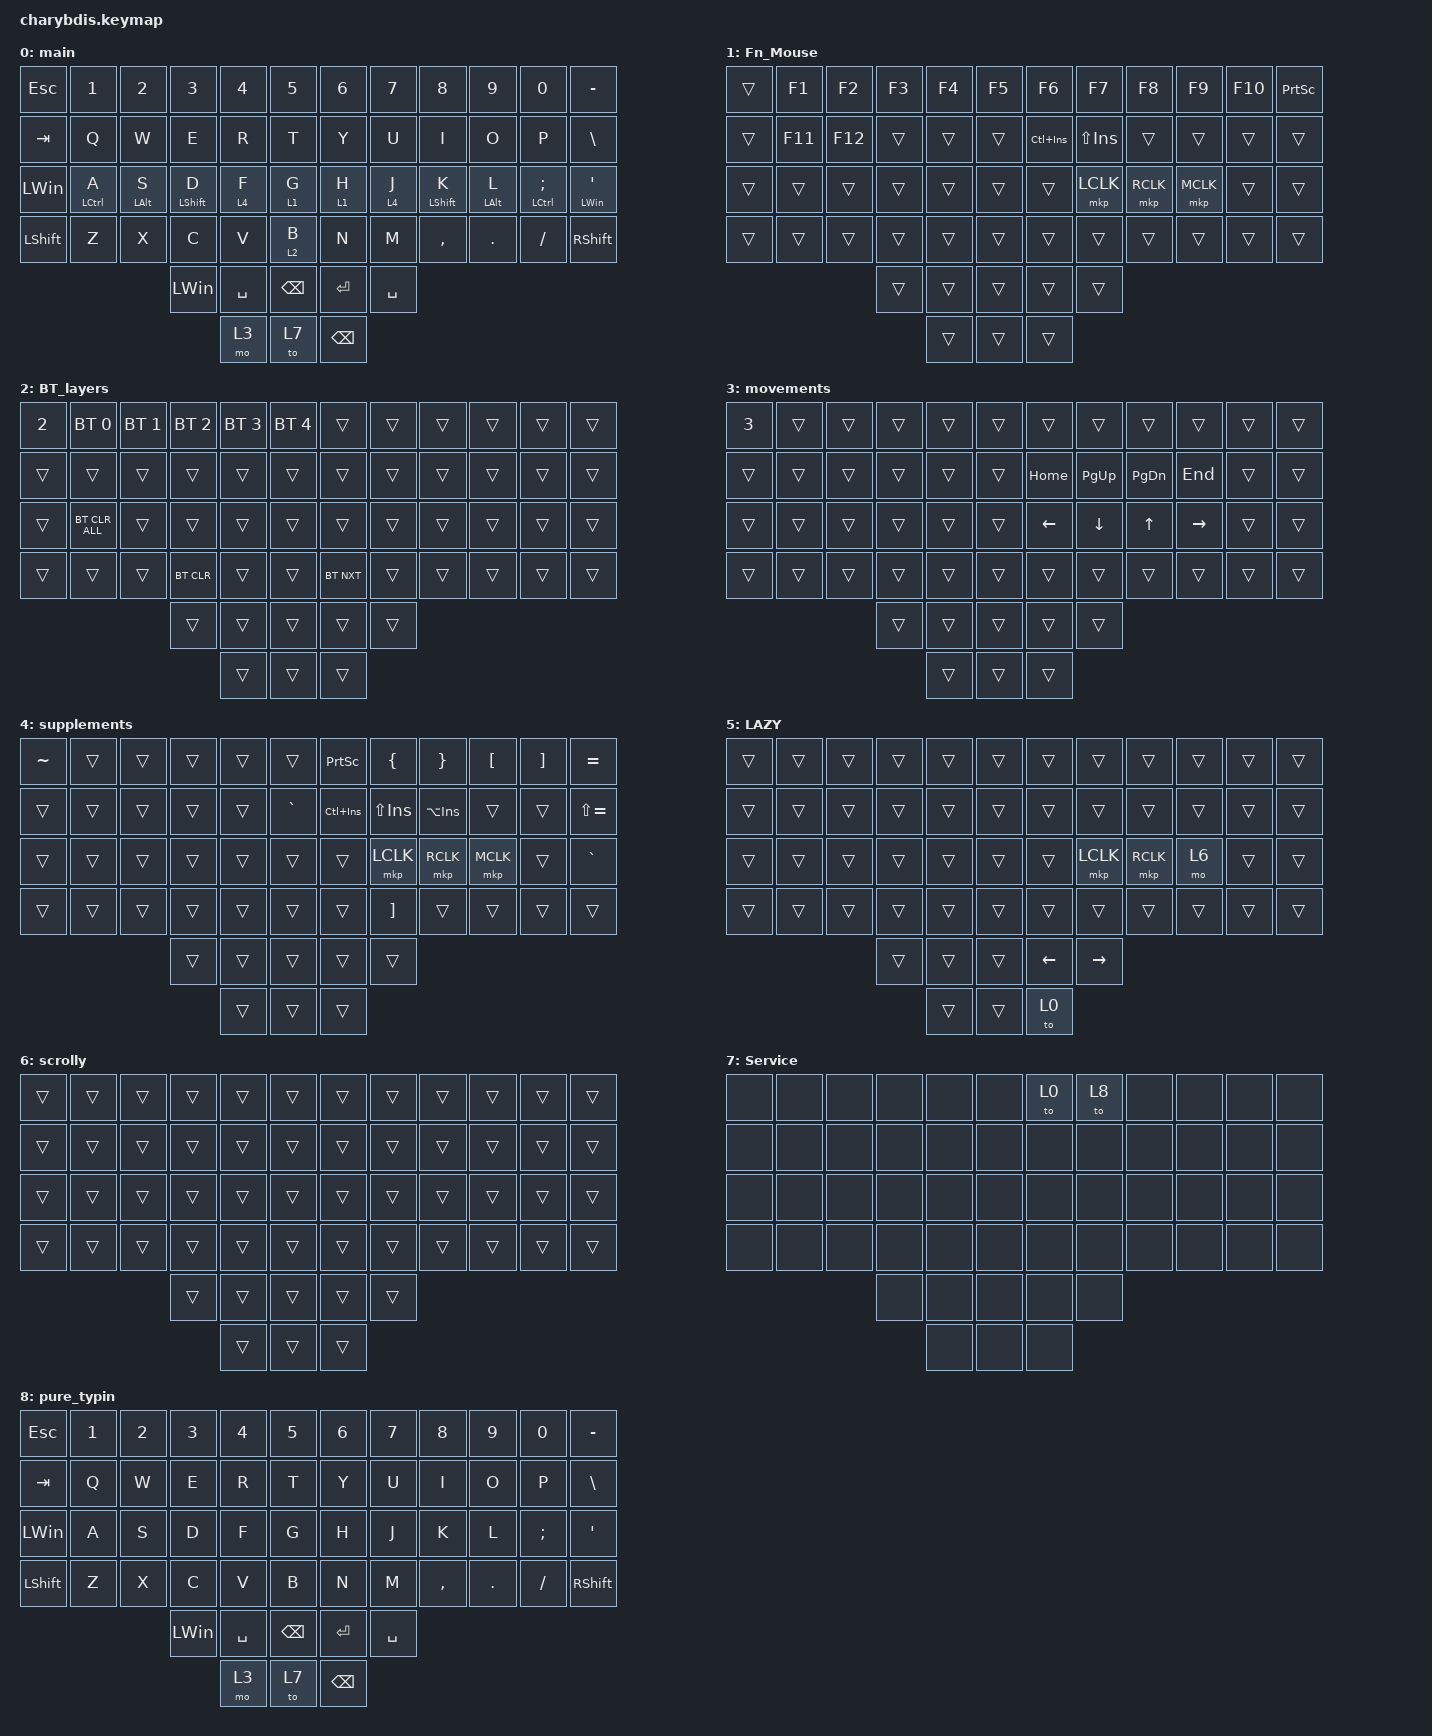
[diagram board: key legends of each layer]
#include <behaviors.dtsi>
#include <dt-bindings/zmk/bt.h>
#include <dt-bindings/zmk/keys.h>
#include <dt-bindings/zmk/pointing.h>
#include <dt-bindings/zmk/rgb.h>

&lt {
    tapping-term-ms = <200>;
    flavor = "balanced";
    quick-tap-ms = <150>;
};

&mt {
    tapping-term-ms = <200>;
    flavor = "balanced";
    quick-tap-ms = <150>;
};

/ {
    macros {
        To1_macro: To1_macro {
            compatible = "zmk,behavior-macro";
            label = "To1_macro";
            #binding-cells = <0>;
            bindings = <&rgb_ug RGB_EFF &rgb_ug RGB_COLOR_HSB(128,100,50) &to 1>;
        };

        To0_macro: To0_macro {
            compatible = "zmk,behavior-macro";
            label = "To0_macro";
            #binding-cells = <0>;
            bindings = <&rgb_ug RGB_EFR &to 0>;
        };

        To2_macro: To2_macro {
            compatible = "zmk,behavior-macro";
            label = "To2_macro";
            #binding-cells = <0>;
            bindings =
                <&to 2>,
                <&macro_wait_time 30>,
                <&rgb_ug RGB_COLOR_HSB(250,100,50)>;
        };
    };

    behaviors {
        multi_backspace: multi_backspace {
            compatible = "zmk,behavior-tap-dance";
            label = "MULTI_BACKSPACE";
            #binding-cells = <0>;
            bindings = <&kp BACKSPACE>, <&to 5>;
        };
    };

    combos {
        compatible = "zmk,combos";

        three_fingers {
            bindings = <&kp LC(LA(DELETE))>;
            key-positions = <32 33 34>;
        };
    };

    keymap {
        compatible = "zmk,keymap";

        main {
            bindings = <
&kp ESC         &kp N1              &kp N2          &kp N3            &kp N4     &kp N5           &kp N6         &kp N7     &kp N8            &kp N9          &kp N0                      &kp MINUS
&kp TAB         &kp Q               &kp W           &kp E             &kp R      &kp T            &kp Y          &kp U      &kp I             &kp O           &kp P                       &kp BSLH
&kp LEFT_WIN    &mt LEFT_CONTROL A  &mt LEFT_ALT S  &mt LEFT_SHIFT D  &lt 4 F    &lt 1 G          &lt 1 H        &lt 4 J    &mt LEFT_SHIFT K  &mt LEFT_ALT L  &mt LEFT_CONTROL SEMICOLON  &mt LEFT_WIN SQT
&kp LEFT_SHIFT  &kp Z               &kp X           &kp C             &kp V      &lt 2 B          &kp N          &kp M      &kp COMMA         &kp DOT         &kp FSLH                    &kp RIGHT_SHIFT
                                                    &kp LEFT_WIN      &kp SPACE  &kp BACKSPACE    &kp ENTER      &kp SPACE
                                                                      &mo 3      &to 7            &kp BACKSPACE
            >;
        };

        Fn_Mouse {
            bindings = <
&trans  &kp F1   &kp F2   &kp F3  &kp F4  &kp F5    &kp F6          &kp F7          &kp F8     &kp F9     &kp F10  &kp PRINTSCREEN
&trans  &kp F11  &kp F12  &trans  &trans  &trans    &kp LC(INSERT)  &kp LS(INSERT)  &trans     &trans     &trans   &trans
&trans  &trans   &trans   &trans  &trans  &trans    &trans          &mkp LCLK       &mkp RCLK  &mkp MCLK  &trans   &trans
&trans  &trans   &trans   &trans  &trans  &trans    &trans          &trans          &trans     &trans     &trans   &trans
                          &trans  &trans  &trans    &trans          &trans
                                  &trans  &trans    &trans
            >;
        };

        BT_layers {
            bindings = <
&kp NUMBER_2  &bt BT_SEL 0    &bt BT_SEL 1  &bt BT_SEL 2  &bt BT_SEL 3  &bt BT_SEL 4    &trans      &trans  &trans  &trans  &trans  &trans
&trans        &trans          &trans        &trans        &trans        &trans          &trans      &trans  &trans  &trans  &trans  &trans
&trans        &bt BT_CLR_ALL  &trans        &trans        &trans        &trans          &trans      &trans  &trans  &trans  &trans  &trans
&trans        &trans          &trans        &bt BT_CLR    &trans        &trans          &bt BT_NXT  &trans  &trans  &trans  &trans  &trans
                                            &trans        &trans        &trans          &trans      &trans
                                                          &trans        &trans          &trans
            >;
        };

        movements {
            bindings = <
&kp NUMBER_3  &trans  &trans  &trans  &trans  &trans    &trans          &trans          &trans         &trans           &trans  &trans
&trans        &trans  &trans  &trans  &trans  &trans    &kp HOME        &kp PAGE_UP     &kp PAGE_DOWN  &kp END          &trans  &trans
&trans        &trans  &trans  &trans  &trans  &trans    &kp LEFT_ARROW  &kp DOWN_ARROW  &kp UP_ARROW   &kp RIGHT_ARROW  &trans  &trans
&trans        &trans  &trans  &trans  &trans  &trans    &trans          &trans          &trans         &trans           &trans  &trans
                              &trans  &trans  &trans    &trans          &trans
                                      &trans  &trans    &trans
            >;
        };

        supplements {
            bindings = <
&kp TILDE  &trans  &trans  &trans  &trans  &trans       &kp PRINTSCREEN  &kp LEFT_BRACE     &kp RIGHT_BRACE  &kp LEFT_BRACKET  &kp RIGHT_BRACKET  &kp EQUAL
&trans     &trans  &trans  &trans  &trans  &kp GRAVE    &kp LC(INSERT)   &kp LS(INSERT)     &kp LA(INSERT)   &trans            &trans             &kp LS(EQUAL)
&trans     &trans  &trans  &trans  &trans  &trans       &trans           &mkp LCLK          &mkp RCLK        &mkp MCLK         &trans             &kp GRAVE
&trans     &trans  &trans  &trans  &trans  &trans       &trans           &kp RIGHT_BRACKET  &trans           &trans            &trans             &trans
                           &trans  &trans  &trans       &trans           &trans
                                   &trans  &trans       &trans
            >;
        };

        LAZY {
            bindings = <
&trans  &trans  &trans  &trans  &trans  &trans    &trans          &trans     &trans     &trans  &trans  &trans
&trans  &trans  &trans  &trans  &trans  &trans    &trans          &trans     &trans     &trans  &trans  &trans
&trans  &trans  &trans  &trans  &trans  &trans    &trans          &mkp LCLK  &mkp RCLK  &mo 6   &trans  &trans
&trans  &trans  &trans  &trans  &trans  &trans    &trans          &trans     &trans     &trans  &trans  &trans
                        &trans  &trans  &trans    &kp LEFT_ARROW  &kp RIGHT
                                &trans  &trans    &to 0
            >;
        };

        scrolly {
            bindings = <
&trans  &trans  &trans  &trans  &trans  &trans    &trans  &trans  &trans  &trans  &trans  &trans
&trans  &trans  &trans  &trans  &trans  &trans    &trans  &trans  &trans  &trans  &trans  &trans
&trans  &trans  &trans  &trans  &trans  &trans    &trans  &trans  &trans  &trans  &trans  &trans
&trans  &trans  &trans  &trans  &trans  &trans    &trans  &trans  &trans  &trans  &trans  &trans
                        &trans  &trans  &trans    &trans  &trans
                                &trans  &trans    &trans
            >;
        };

        Service {
            bindings = <
&none  &none  &none  &none  &none  &none    &to 0  &to 8  &none  &none  &none  &none
&none  &none  &none  &none  &none  &none    &none  &none  &none  &none  &none  &none
&none  &none  &none  &none  &none  &none    &none  &none  &none  &none  &none  &none
&none  &none  &none  &none  &none  &none    &none  &none  &none  &none  &none  &none
                     &none  &none  &none    &none  &none
                            &none  &none    &none
            >;
        };

        pure_typin {
            bindings = <
&kp ESC         &kp N1  &kp N2  &kp N3        &kp N4     &kp N5           &kp N6         &kp N7     &kp N8     &kp N9   &kp N0         &kp MINUS
&kp TAB         &kp Q   &kp W   &kp E         &kp R      &kp T            &kp Y          &kp U      &kp I      &kp O    &kp P          &kp BSLH
&kp LEFT_WIN    &kp A   &kp S   &kp D         &kp F      &kp G            &kp H          &kp J      &kp K      &kp L    &kp SEMICOLON  &kp SQT
&kp LEFT_SHIFT  &kp Z   &kp X   &kp C         &kp V      &kp B            &kp N          &kp M      &kp COMMA  &kp DOT  &kp FSLH       &kp RIGHT_SHIFT
                                &kp LEFT_WIN  &kp SPACE  &kp BACKSPACE    &kp ENTER      &kp SPACE
                                              &mo 3      &to 7            &kp BACKSPACE
            >;
        };
    };
};
